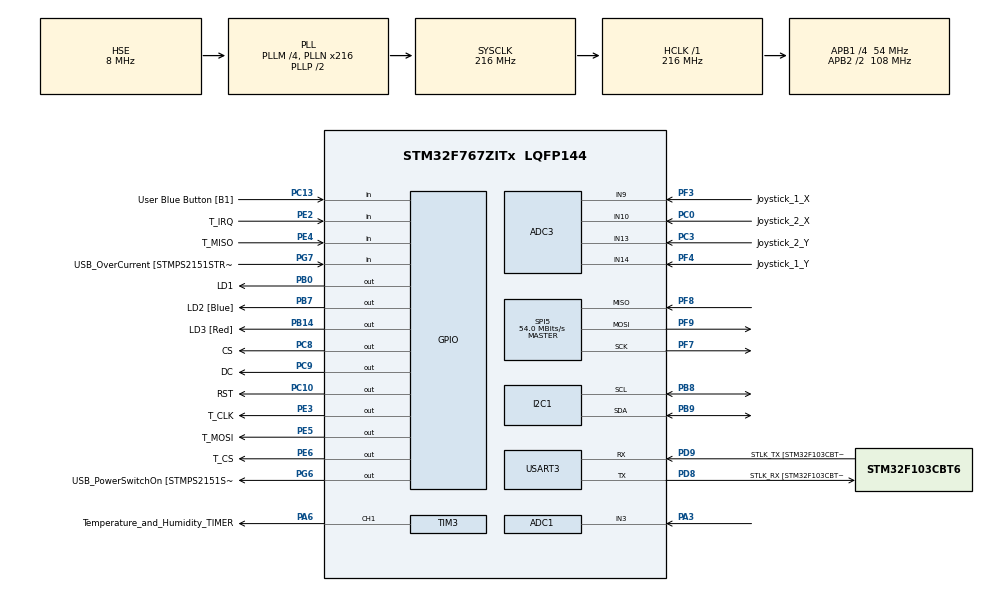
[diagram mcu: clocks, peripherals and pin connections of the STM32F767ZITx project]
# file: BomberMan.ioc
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ADC1.Channel-0\#ChannelRegularConversion=ADC_CHANNEL_3
ADC1.ClockPrescaler=ADC_CLOCK_SYNC_PCLK_DIV8
ADC1.ContinuousConvMode=ENABLE
ADC1.DiscontinuousConvMode=DISABLE
ADC1.EOCSelection=ADC_EOC_SEQ_CONV
ADC1.ExternalTrigConv=ADC_EXTERNALTRIGCONV_T2_TRGO
ADC1.NbrOfConversionFlag=1
ADC1.Rank-0\#ChannelRegularConversion=1
ADC1.SamplingTime-0\#ChannelRegularConversion=ADC_SAMPLETIME_28CYCLES
ADC1.ScanConvMode=ADC_SCAN_ENABLE
ADC1.master=1
ADC3.Channel-0\#ChannelRegularConversion=ADC_CHANNEL_14
ADC3.Channel-1\#ChannelRegularConversion=ADC_CHANNEL_9
ADC3.Channel-2\#ChannelRegularConversion=ADC_CHANNEL_9
ADC3.Channel-3\#ChannelRegularConversion=ADC_CHANNEL_9
ADC3.ClockPrescaler=ADC_CLOCK_SYNC_PCLK_DIV8
ADC3.ContinuousConvMode=ENABLE
ADC3.ExternalTrigConv=ADC_SOFTWARE_START
ADC3.NbrOfConversion=4
ADC3.NbrOfConversionFlag=1
ADC3.Rank-0\#ChannelRegularConversion=1
ADC3.Rank-1\#ChannelRegularConversion=2
ADC3.Rank-2\#ChannelRegularConversion=3
ADC3.Rank-3\#ChannelRegularConversion=4
ADC3.SamplingTime-0\#ChannelRegularConversion=ADC_SAMPLETIME_3CYCLES
ADC3.SamplingTime-1\#ChannelRegularConversion=ADC_SAMPLETIME_3CYCLES
ADC3.SamplingTime-2\#ChannelRegularConversion=ADC_SAMPLETIME_3CYCLES
ADC3.SamplingTime-3\#ChannelRegularConversion=ADC_SAMPLETIME_3CYCLES
ADC3.ScanConvMode=ADC_SCAN_ENABLE
CORTEX_M7.ART_ACCLERATOR_ENABLE=1
CORTEX_M7.CPU_DCache=Enabled
CORTEX_M7.CPU_ICache=Enabled
CORTEX_M7.PREFETCH_ENABLE=1
Dma.ADC3.0.Direction=DMA_PERIPH_TO_MEMORY
Dma.ADC3.0.FIFOMode=DMA_FIFOMODE_DISABLE
Dma.ADC3.0.Instance=DMA2_Stream0
Dma.ADC3.0.MemDataAlignment=DMA_MDATAALIGN_WORD
Dma.ADC3.0.MemInc=DMA_MINC_ENABLE
Dma.ADC3.0.Mode=DMA_CIRCULAR
Dma.ADC3.0.PeriphDataAlignment=DMA_PDATAALIGN_WORD
Dma.ADC3.0.PeriphInc=DMA_PINC_DISABLE
Dma.ADC3.0.Priority=DMA_PRIORITY_LOW
Dma.Request0=ADC3
I2C1.Timing=0x20404768
Mcu.Family=STM32F7
Mcu.Name=STM32F767ZITx
Mcu.Package=LQFP144
NVIC.ADC_IRQn=true\:2\:0\:true\:false\:true\:true\:true\:true
NVIC.DMA2_Stream0_IRQn=true\:1\:0\:true\:false\:true\:false\:true\:true
NVIC.I2C1_ER_IRQn=true\:0\:0\:false\:false\:true\:true\:true\:true
NVIC.I2C1_EV_IRQn=true\:0\:0\:false\:false\:true\:true\:true\:true
NVIC.PriorityGroup=NVIC_PRIORITYGROUP_4
NVIC.TIM3_IRQn=true\:1\:0\:true\:false\:true\:true\:true\:true
PA1.GPIO_Label=RMII_REF_CLK [LAN8742A-CZ-TR_REFCLK0]
PA1.Signal=ETH_REF_CLK
PA13.GPIO_Label=TMS
PA13.Mode=Serial_Wire
PA13.Signal=SYS_JTMS-SWDIO
PA14.GPIO_Label=TCK
PA14.Mode=Serial_Wire
PA14.Signal=SYS_JTCK-SWCLK
PA2.GPIO_Label=RMII_MDIO [LAN8742A-CZ-TR_MDIO]
PA2.Signal=ETH_MDIO
PA3.Signal=ADCx_IN3
PA5.Signal=S_TIM2_CH1_ETR
PA6.GPIO_Label=Temperature_and_Humidity_TIMER
PA6.GPIO_Speed=GPIO_SPEED_FREQ_VERY_HIGH
PA6.Signal=S_TIM3_CH1
PA7.GPIO_Label=RMII_CRS_DV [LAN8742A-CZ-TR_CRS_DV]
PA7.Signal=ETH_CRS_DV
PB0.GPIO_Label=LD1
PB0.Signal=GPIO_Output
PB10.Signal=I2C2_SCL
PB11.Signal=I2C2_SDA
PB13.GPIO_Label=RMII_TXD1 [LAN8742A-CZ-TR_TXD1]
PB13.Signal=ETH_TXD1
PB14.GPIO_Label=LD3 [Red]
PB14.Signal=GPIO_Output
PB3.GPIO_Label=SWO
PB3.Signal=SYS_JTDO-SWO
PB6.GPIO_FM6=__NULL
PB6.GPIO_Label=LCD_LED_BACKLIGHT
PB6.GPIO_Speed=GPIO_SPEED_FREQ_VERY_HIGH
PB6.Signal=S_TIM4_CH1
PB7.GPIO_Label=LD2 [Blue]
PB7.Signal=GPIO_Output
PB8.GPIO_Speed=GPIO_SPEED_FREQ_VERY_HIGH
PB8.Mode=I2C
PB8.Signal=I2C1_SCL
PB9.GPIO_Speed=GPIO_SPEED_FREQ_VERY_HIGH
PB9.Mode=I2C
PB9.Signal=I2C1_SDA
PC0.GPIO_Label=Joystick_2_X
PC0.Signal=ADCx_IN10
PC1.GPIO_Label=RMII_MDC [LAN8742A-CZ-TR_MDC]
PC1.Signal=ETH_MDC
PC10.GPIO_Label=RST
PC10.GPIO_Speed=GPIO_SPEED_FREQ_VERY_HIGH
PC10.Signal=GPIO_Output
PC13.GPIO_Label=User Blue Button [B1]
PC13.Signal=GPIO_Input
PC14/OSC32_IN.Mode=LSE-External-Oscillator
PC14/OSC32_IN.Signal=RCC_OSC32_IN
PC15/OSC32_OUT.Mode=LSE-External-Oscillator
PC15/OSC32_OUT.Signal=RCC_OSC32_OUT
PC3.GPIO_Label=Joystick_2_Y
PC3.Signal=ADCx_IN13
PC4.GPIO_Label=RMII_RXD0 [LAN8742A-CZ-TR_RXD0]
PC4.Signal=ETH_RXD0
PC5.GPIO_Label=RMII_RXD1 [LAN8742A-CZ-TR_RXD1]
PC5.Signal=ETH_RXD1
PC8.GPIO_Label=CS
PC8.GPIO_Speed=GPIO_SPEED_FREQ_VERY_HIGH
PC8.Signal=GPIO_Output
PC9.GPIO_Label=DC
PC9.GPIO_Speed=GPIO_SPEED_FREQ_VERY_HIGH
PC9.Signal=GPIO_Output
PD8.GPIO_Label=STLK_RX [STM32F103CBT6_PA3]
PD8.Mode=Asynchronous
PD8.Signal=USART3_TX
PD9.GPIO_Label=STLK_TX [STM32F103CBT6_PA2]
PD9.Mode=Asynchronous
PD9.Signal=USART3_RX
PE11.Signal=GPXTI11
PE2.GPIO_Label=T_IRQ
PE2.Signal=GPIO_Input
PE3.GPIO_Label=T_CLK
PE3.GPIO_Speed=GPIO_SPEED_FREQ_VERY_HIGH
PE3.Signal=GPIO_Output
PE4.GPIO_Label=T_MISO
PE4.Signal=GPIO_Input
PE5.GPIO_Label=T_MOSI
PE5.GPIO_Speed=GPIO_SPEED_FREQ_VERY_HIGH
PE5.Signal=GPIO_Output
PE6.GPIO_Label=T_CS
PE6.GPIO_Speed=GPIO_SPEED_FREQ_VERY_HIGH
PE6.Signal=GPIO_Output
PF3.GPIO_Label=Joystick_1_X
PF3.Mode=IN9
PF3.Signal=ADC3_IN9
PF4.GPIO_Label=Joystick_1_Y
PF4.Mode=IN14
PF4.Signal=ADC3_IN14
PF7.Mode=Full_Duplex_Master
PF7.Signal=SPI5_SCK
PF8.Mode=Full_Duplex_Master
PF8.Signal=SPI5_MISO
PF9.Mode=Full_Duplex_Master
PF9.Signal=SPI5_MOSI
PG11.GPIO_Label=RMII_TX_EN [LAN8742A-CZ-TR_TXEN]
PG11.Signal=ETH_TX_EN
PG13.GPIO_Label=RMII_TXD0 [LAN8742A-CZ-TR_TXD0]
PG13.Signal=ETH_TXD0
PG6.GPIO_Label=USB_PowerSwitchOn [STMPS2151STR_EN]
PG6.Signal=GPIO_Output
PG7.GPIO_Label=USB_OverCurrent [STMPS2151STR_FAULT]
PG7.Signal=GPIO_Input
PH0/OSC_IN.GPIO_Label=MCO [STM32F103CBT6_PA8]
PH0/OSC_IN.Mode=HSE-External-Clock-Source
PH0/OSC_IN.Signal=RCC_OSC_IN
PH1/OSC_OUT.Mode=HSE-External-Clock-Source
PH1/OSC_OUT.Signal=RCC_OSC_OUT
ProjectManager.HeapSize=0x200
ProjectManager.StackSize=0x400
ProjectManager.TargetToolchain=STM32CubeIDE
RCC.48MHZClocksFreq_Value=24000000
RCC.AHBFreq_Value=216000000
RCC.APB1CLKDivider=RCC_HCLK_DIV4
RCC.APB1Freq_Value=54000000
RCC.APB1TimFreq_Value=108000000
RCC.APB2CLKDivider=RCC_HCLK_DIV2
RCC.APB2Freq_Value=108000000
RCC.APB2TimFreq_Value=216000000
RCC.CortexFreq_Value=216000000
RCC.HCLKFreq_Value=216000000
RCC.HSE_VALUE=8000000
RCC.HSI_VALUE=16000000
RCC.PLLM=4
RCC.PLLMUL=RCC_PLL_MUL9
RCC.PLLN=216
RCC.PLLQ=9
RCC.PLLSourceVirtual=RCC_PLLSOURCE_HSE
RCC.PRESCALERUSB=RCC_USBCLKSOURCE_PLL_DIV1_5
RCC.SYSCLKFreq_VALUE=216000000
RCC.SYSCLKSource=RCC_SYSCLKSOURCE_PLLCLK
RCC.SYSCLKSourceVirtual=RCC_SYSCLKSOURCE_PLLCLK
RCC.USBFreq_Value=48000000
RCC.VCOOutputFreq_Value=432000000
SH.ADCx_IN10.0=ADC3_IN10,IN10
SH.ADCx_IN13.0=ADC3_IN13,IN13
SH.ADCx_IN3.0=ADC1_IN3,IN3
SH.ADCx_IN3.1=ADC2_IN3
SH.S_TIM2_CH1_ETR.0=TIM2_CH1
SH.S_TIM3_CH1.0=TIM3_CH1,PWM Generation1 CH1
SH.S_TIM4_CH1.0=TIM4_CH1
SPI5.CalculateBaudRate=54.0 MBits/s
SPI5.DataSize=SPI_DATASIZE_8BIT
SPI5.Direction=SPI_DIRECTION_2LINES
SPI5.Mode=SPI_MODE_MASTER
SPI5.NSSPMode=SPI_NSS_PULSE_DISABLE
SPI5.VirtualType=VM_MASTER
TIM1.ClockDivision=TIM_CLOCKDIVISION_DIV2
TIM1.Period=0
TIM1.Prescaler=10000-1
TIM2.Period=10000-1
TIM2.Prescaler=10800-1
TIM2.TIM_MasterOutputTrigger=TIM_TRGO_UPDATE
TIM3.Channel-PWM\ Generation1\ CH1=TIM_CHANNEL_1
TIM3.Period=10000-1
TIM3.Prescaler=10800-1
TIM3.Pulse-PWM\ Generation1\ CH1=10000/4-1
USART3.VirtualMode-Asynchronous=VM_ASYNC
VP_RNG_VS_RNG.Mode=RNG_Activate
VP_TIM1_VS_ClockSourceINT.Mode=Internal
VP_TIM2_VS_ClockSourceINT.Mode=Internal
VP_TIM3_VS_ClockSourceINT.Mode=Internal
board=NUCLEO-F767ZI

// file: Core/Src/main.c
/* USER CODE BEGIN Header */
/**
  ******************************************************************************
  * @file           : main.c
  * @brief          : Main program body
  ******************************************************************************
  * @attention
  *
  * Copyright (c) 2023 STMicroelectronics.
  * All rights reserved.
  *
  * This software is licensed under terms that can be found in the LICENSE file
  * in the root directory of this software component.
  * If no LICENSE file comes with this software, it is provided AS-IS.
  *
  ******************************************************************************
  */
/* USER CODE END Header */
#include "main.h"
#include "adc.h"
#include "dma.h"
#include "i2c.h"
#include "rng.h"
#include "spi.h"
#include "tim.h"
#include "usart.h"
#include "gpio.h"

/* USER CODE BEGIN Includes */
#include "stdio.h"
#include "string.h"

#include "ILI9341_Touchscreen.h"
#include "ILI9341_STM32_Driver.h"
#include "ILI9341_GFX.h"

#include "icons.h"
#include "my_lcd.h"
#include "my_basic.h"
#include "my_picture.h"
/* USER CODE END Includes */

void SystemClock_Config(void);

/* USER CODE BEGIN 0 */
uint8_t isTouchWithinRectangle(uint16_t rSXPos, uint16_t rSYPos,uint16_t rEXPos, uint16_t rEYPos , uint16_t xPos, uint16_t yPos)
{
	if (xPos >= rSXPos && xPos <= rEXPos && yPos <= rEYPos && yPos >= rSYPos)
	{
		return 1;
	} else
	{
		return 0;
	}

}

void drawStartScreen()
{
  	Image playerIcon = playerIcon1;
	ILI9341_Fill_Screen(WHITE);
	drawImage((const char *)&winPage, SCREEN_ROTATION);
	ILI9341_Draw_Text("BOMBER MAN", 75, 10, BLACK, 3, WHITE);
	//Draw background
	ILI9341_Draw_Filled_Rectangle_Coord(10, 38, 310, 78, CYAN);
	ILI9341_Draw_Filled_Rectangle_Coord(10, 88, 310, 141, YELLOW);
	ILI9341_Draw_Filled_Rectangle_Coord(10, 148, 310, 205, GREEN);
	//Choose number of player box
	ILI9341_Draw_Text("Choose Number Of Player", 96, 42, BLACK, 1, CYAN);
	ILI9341_Draw_Hollow_Rectangle_Coord(100, 55, 160, 72, BLUE);
	ILI9341_Draw_Hollow_Rectangle_Coord(170, 55, 230, 72, BLUE);
	ILI9341_Draw_Text("1 Player", 108, 60, BLUE, 1, CYAN);
	ILI9341_Draw_Text("2 Player", 177, 60, BLUE, 1, CYAN);
	//Choose player box (from 5 player) (size: 32*32)
	ILI9341_Draw_Text("Choose Player", 125, 90, BLACK, 1, YELLOW);
//  			ILI9341_Draw_Filled_Rectangle_Coord(50, 102, 82, 134, RED);
//  			ILI9341_Draw_Filled_Rectangle_Coord(97, 102, 129, 134, RED);
//  			ILI9341_Draw_Filled_Rectangle_Coord(144, 102, 176, 134, RED);
//  			ILI9341_Draw_Filled_Rectangle_Coord(191, 102, 223, 134, RED);
//  			ILI9341_Draw_Filled_Rectangle_Coord(238, 102, 270, 134, RED);
	playerIcon.drawPoint.x = 50;
	playerIcon.drawPoint.y = 102;
	drawImageAtPoint(playerIcon, SCREEN_ROTATION);
	playerIcon.drawPoint.x = 97;
	drawImageAtPoint(playerIcon, SCREEN_ROTATION);
	playerIcon.drawPoint.x = 144;
	drawImageAtPoint(playerIcon, SCREEN_ROTATION);
	playerIcon.drawPoint.x = 191;
	drawImageAtPoint(playerIcon, SCREEN_ROTATION);
//	playerIcon.drawPoint.x = 200;
//	drawImageAtPoint(playerIcon, SCREEN_ROTATION);
	//Choose map box (from 3 player) (size: 32*32)
	ILI9341_Draw_Text("Choose Map", 135, 152, BLACK, 1, GREEN);
	ILI9341_Draw_Filled_Rectangle_Coord(95, 165, 127, 197, RED);
	ILI9341_Draw_Filled_Rectangle_Coord(142, 165, 174, 197, RED);
	ILI9341_Draw_Filled_Rectangle_Coord(189, 165, 221, 197, RED);
	//Play button
	ILI9341_Draw_Filled_Rectangle_Coord(140, 215, 185, 230, PINK);
	ILI9341_Draw_Text("PLAY", 152, 218, WHITE, 1, PINK);
}
/* USER CODE END 0 */

int main(void)
{

  /* Enable I-Cache---------------------------------------------------------*/
  SCB_EnableICache();

  /* Enable D-Cache---------------------------------------------------------*/
  SCB_EnableDCache();

  /* MCU Configuration--------------------------------------------------------*/

  /* Reset of all peripherals, Initializes the Flash interface and the Systick. */
  HAL_Init();

  /* Configure the system clock */
  SystemClock_Config();

  /* Initialize all configured peripherals */
  MX_GPIO_Init();
  MX_DMA_Init();
  MX_SPI5_Init();
  MX_TIM1_Init();
  MX_RNG_Init();
  MX_I2C1_Init();
  MX_TIM2_Init();
  MX_ADC1_Init();
  MX_TIM3_Init();
  MX_USART3_UART_Init();
  MX_ADC3_Init();
  /* USER CODE BEGIN 2 */
  ILI9341_Init();
  /* USER CODE END 2 */

  /* Infinite loop */
  	/* USER CODE BEGIN WHILE */

	int displayScreen = 0;
	int mapID = 0;
	int selectNumberPlayer[2] = {0,0};
	int numberPositionX[2] = {100,170};
	int selectPlayer[5] = {0,0,0,0,0};
	int playerPositionX[5] = {50,97,144,191,238};
	int selectMap[3] = {0,0,0};
	int mapPositionX[3] = {95,142,189};
	int checkPlay = 1;
	const uint8_t SCREEN_ROTATION = SCREEN_HORIZONTAL_1;

	uint16_t xPos = 0;
	uint16_t yPos = 0;
	ILI9341_Set_Rotation(SCREEN_HORIZONTAL_1);
	ILI9341_Fill_Screen(WHITE);
	while (1) {
		/* USER CODE END WHILE */

		/* USER CODE BEGIN 3 */
		if(displayScreen==0){
			ILI9341_Fill_Screen(WHITE);
			ILI9341_Draw_Text("BOMBER MAN", 75, 10, BLACK, 3, WHITE);
			//Draw background
			ILI9341_Draw_Filled_Rectangle_Coord(10, 38, 310, 78, CYAN);
			ILI9341_Draw_Filled_Rectangle_Coord(10, 88, 310, 141, YELLOW);
			ILI9341_Draw_Filled_Rectangle_Coord(10, 148, 310, 205, GREEN);
			//Choose number of player box
			ILI9341_Draw_Text("Choose Number Of Player", 96, 42, BLACK, 1, CYAN);
			ILI9341_Draw_Hollow_Rectangle_Coord(100, 55, 160, 72, BLUE);
			ILI9341_Draw_Hollow_Rectangle_Coord(170, 55, 230, 72, BLUE);
			ILI9341_Draw_Text("1 Player", 108, 60, BLUE, 1, CYAN);
			ILI9341_Draw_Text("2 Player", 177, 60, BLUE, 1, CYAN);
			//Choose player box (from 5 player) (size: 32*32)
			ILI9341_Draw_Text("Choose Player", 125, 90, BLACK, 1, YELLOW);
			ILI9341_Draw_Filled_Rectangle_Coord(50, 102, 82, 134, RED);
			ILI9341_Draw_Filled_Rectangle_Coord(97, 102, 129, 134, RED);
			ILI9341_Draw_Filled_Rectangle_Coord(144, 102, 176, 134, RED);
			ILI9341_Draw_Filled_Rectangle_Coord(191, 102, 223, 134, RED);
			ILI9341_Draw_Filled_Rectangle_Coord(238, 102, 270, 134, RED);
			//Choose map box (from 3 player) (size: 32*32)
			ILI9341_Draw_Text("Choose Map", 135, 152, BLACK, 1, GREEN);
			ILI9341_Draw_Filled_Rectangle_Coord(95, 165, 127, 197, RED);
			ILI9341_Draw_Filled_Rectangle_Coord(142, 165, 174, 197, RED);
			ILI9341_Draw_Filled_Rectangle_Coord(189, 165, 221, 197, RED);
			//Play button
			ILI9341_Draw_Filled_Rectangle_Coord(140, 215, 185, 230, PINK);
			ILI9341_Draw_Text("PLAY", 152, 218, WHITE, 1, PINK);
			//Draw Players
			Image player1 = playerIcon1;

			drawImageAtPoint(player1, SCREEN_HORIZONTAL_1);
			//Check when user choose
			if (TP_Touchpad_Pressed())
			{
				uint16_t position_array[2];
				if (TP_Read_Coordinates(position_array) == TOUCHPAD_DATA_OK)
				{
					if (SCREEN_ROTATION == SCREEN_HORIZONTAL_1)
					{
						xPos = position_array[1];
						yPos = SCREEN_HEIGHT - position_array[0];
					} else if (SCREEN_ROTATION == SCREEN_HORIZONTAL_2)
					{
						xPos = SCREEN_WIDTH - position_array[1];
						yPos = position_array[0];
					}
				}

			}
			//Number Box
			for(int i=0;i <2; i++){
				if (isTouchWithinRectangle(numberPositionX[i], 55, numberPositionX[i]+60, 72, xPos, yPos)){
					selectNumberPlayer[i]=1;
					for(int j=0;j <2; j++){
						if(j==i)
							continue;
						selectNumberPlayer[j]=0;
					}
				}
			}
			//Player Box
			for(int i=0;i <5; i++){
				if (isTouchWithinRectangle(playerPositionX[i], 102, playerPositionX[i]+32, 102+32, xPos, yPos)){
					selectPlayer[i]=1;
					for(int j=0;j <5; j++){
						if(j==i)
							continue;
						selectPlayer[j]=0;
					}
				}
			}
			//Map Box
			for(int i=0;i <3; i++){
				if (isTouchWithinRectangle(mapPositionX[i], 165, mapPositionX[i]+32, 165+32, xPos, yPos)){
					selectMap[i]=1;
					for(int j=0;j <3; j++){
						if(j==i)
							continue;
						selectMap[j]=0;
					}
				}
			}
			//Check Button press
			if (isTouchWithinRectangle(140, 215, 140+45, 215+15, xPos, yPos)){
				for(int i=0;i <2; i++){
					if(selectNumberPlayer[i]==1){
						checkPlay++;
						break;
					}

				}
				for(int i=0;i <5; i++){
					if(selectPlayer[i]==1){
						checkPlay++;
						break;
					}
				}
				for(int i=0;i <3; i++){
					if(selectMap[i]==1){
						checkPlay++;
						break;
					}
				}
				if(checkPlay==3)
					displayScreen=1;
				else
					checkPlay=0;
			}

			//Display when user choose
			for(int i=0;i <2; i++){
				if(selectNumberPlayer[i]){
					ILI9341_Draw_Filled_Rectangle_Coord(numberPositionX[i], 55, numberPositionX[i]+60 , 72, BLUE);
					if(i==0)
						ILI9341_Draw_Text("1 Player", 108, 60, WHITE, 1, BLUE);
					else
						ILI9341_Draw_Text("2 Player", 177, 60, WHITE, 1, BLUE);
				}
				else{
					ILI9341_Draw_Filled_Rectangle_Coord(numberPositionX[i], 55, numberPositionX[i]+60 , 72, CYAN);
					ILI9341_Draw_Hollow_Rectangle_Coord(numberPositionX[i], 55, numberPositionX[i]+60 , 72, BLUE);
					if(i==0)
						ILI9341_Draw_Text("1 Player", 108, 60, BLUE, 1, CYAN);
					else
						ILI9341_Draw_Text("2 Player", 177, 60, BLUE, 1, CYAN);
				}
			}
			for(int i=0;i <5; i++){
				if(selectPlayer[i])
					ILI9341_Draw_Hollow_Rectangle_Coord(playerPositionX[i]-2, 102-2, playerPositionX[i]+32+2 , 102+32+2, RED);
				else
					ILI9341_Draw_Hollow_Rectangle_Coord(playerPositionX[i]-2, 102-2, playerPositionX[i]+32+2 , 102+32+2, YELLOW);
			}
			for(int i=0;i <3; i++){
				if(selectMap[i])
					ILI9341_Draw_Hollow_Rectangle_Coord(mapPositionX[i]-2, 165-2, mapPositionX[i]+32+2 , 165+32+2, RED);
				else
					ILI9341_Draw_Hollow_Rectangle_Coord(mapPositionX[i]-2, 165-2, mapPositionX[i]+32+2 , 165+32+2, GREEN);
			}
			HAL_Delay(200);
		}
		if(displayScreen==1){
			ILI9341_Fill_Screen(BLACK);
		}
		if(displayScreen==2){
			ILI9341_Fill_Screen(WHITE);
			ILI9341_Draw_Filled_Rectangle_Coord(100, 25, 212 , 137, RED);
			ILI9341_Draw_Filled_Rectangle_Coord(90, 142, 222 , 170, YELLOW);
			ILI9341_Draw_Text("WINNER", 104, 143, BLUE, 3, YELLOW);
			ILI9341_Draw_Filled_Rectangle_Coord(55, 175, 150 , 200, GREEN);
			ILI9341_Draw_Text("<REPLAY", 60, 179, BLACK, 2, GREEN);
			ILI9341_Draw_Filled_Rectangle_Coord(155, 175, 250 , 200, CYAN);
			ILI9341_Draw_Text("NEXT>", 175, 179, BLACK, 2, CYAN);
			ILI9341_Draw_Filled_Rectangle_Coord(108, 205, 203 , 230, ORANGE);
			ILI9341_Draw_Text("EXIT", 133, 209, RED, 2, ORANGE);
			if (TP_Touchpad_Pressed())
					{
						uint16_t position_array[2];
						if (TP_Read_Coordinates(position_array) == TOUCHPAD_DATA_OK)
						{
							if (SCREEN_ROTATION == SCREEN_HORIZONTAL_1)
							{
								xPos = position_array[1];
								yPos = SCREEN_HEIGHT - position_array[0];
							} else if (SCREEN_ROTATION == SCREEN_HORIZONTAL_2)
							{
								xPos = SCREEN_WIDTH - position_array[1];
								yPos = position_array[0];
							}
						}

					}
			if (isTouchWithinRectangle(55, 175, 150, 200, xPos, yPos)){
				displayScreen = 1;
				mapID = 0;
			}
			if (isTouchWithinRectangle(155, 175, 250, 200, xPos, yPos)){
				displayScreen = 1;
				mapID++;
			}
			if (isTouchWithinRectangle(108, 205, 203, 230, xPos, yPos)){
				displayScreen = 0;
				mapID++;
			}
			HAL_Delay(200);
		}
	}
  	/* USER CODE END 3 */
}

void SystemClock_Config(void)
{
  RCC_OscInitTypeDef RCC_OscInitStruct = {0};
  RCC_ClkInitTypeDef RCC_ClkInitStruct = {0};

  /** Configure LSE Drive Capability
  */
  HAL_PWR_EnableBkUpAccess();

  /** Configure the main internal regulator output voltage
  */
  __HAL_RCC_PWR_CLK_ENABLE();
  __HAL_PWR_VOLTAGESCALING_CONFIG(PWR_REGULATOR_VOLTAGE_SCALE1);

  /** Initializes the RCC Oscillators according to the specified parameters
  * in the RCC_OscInitTypeDef structure.
  */
  RCC_OscInitStruct.OscillatorType = RCC_OSCILLATORTYPE_HSE;
  RCC_OscInitStruct.HSEState = RCC_HSE_BYPASS;
  RCC_OscInitStruct.PLL.PLLState = RCC_PLL_ON;
  RCC_OscInitStruct.PLL.PLLSource = RCC_PLLSOURCE_HSE;
  RCC_OscInitStruct.PLL.PLLM = 4;
  RCC_OscInitStruct.PLL.PLLN = 216;
  RCC_OscInitStruct.PLL.PLLP = RCC_PLLP_DIV2;
  RCC_OscInitStruct.PLL.PLLQ = 9;
  RCC_OscInitStruct.PLL.PLLR = 2;
  if (HAL_RCC_OscConfig(&RCC_OscInitStruct) != HAL_OK)
  {
    Error_Handler();
  }

  /** Activate the Over-Drive mode
  */
  if (HAL_PWREx_EnableOverDrive() != HAL_OK)
  {
    Error_Handler();
  }

  /** Initializes the CPU, AHB and APB buses clocks
  */
  RCC_ClkInitStruct.ClockType = RCC_CLOCKTYPE_HCLK|RCC_CLOCKTYPE_SYSCLK
                              |RCC_CLOCKTYPE_PCLK1|RCC_CLOCKTYPE_PCLK2;
  RCC_ClkInitStruct.SYSCLKSource = RCC_SYSCLKSOURCE_PLLCLK;
  RCC_ClkInitStruct.AHBCLKDivider = RCC_SYSCLK_DIV1;
  RCC_ClkInitStruct.APB1CLKDivider = RCC_HCLK_DIV4;
  RCC_ClkInitStruct.APB2CLKDivider = RCC_HCLK_DIV2;

  if (HAL_RCC_ClockConfig(&RCC_ClkInitStruct, FLASH_LATENCY_7) != HAL_OK)
  {
    Error_Handler();
  }
}

void Error_Handler(void)
{
  __disable_irq();
  while (1)
  {
  }
}
